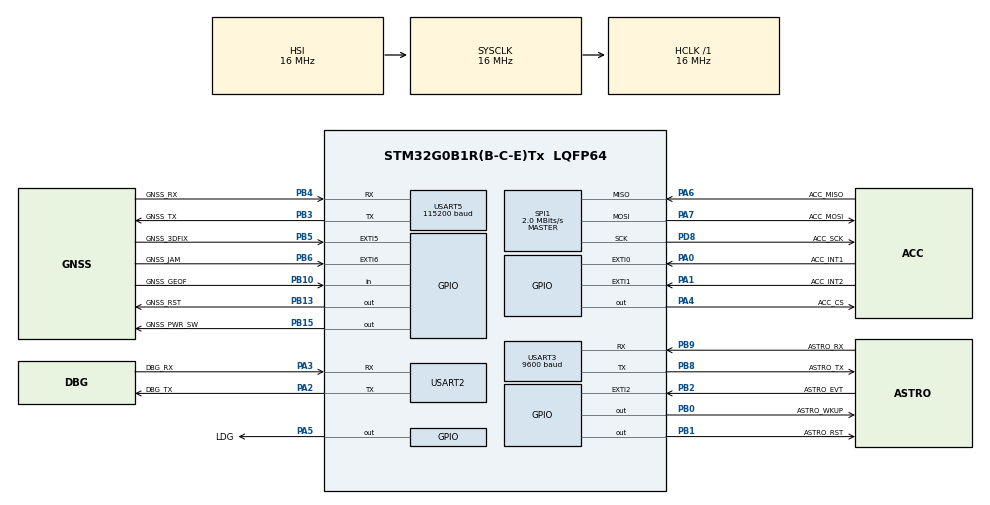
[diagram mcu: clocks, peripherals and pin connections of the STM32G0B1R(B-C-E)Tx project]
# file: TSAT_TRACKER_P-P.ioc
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Mcu.Family=STM32G0
Mcu.Name=STM32G0B1R(B-C-E)Tx
Mcu.Package=LQFP64
NVIC.EXTI0_1_IRQn=true\:3\:0\:true\:false\:true\:true\:true\:true
NVIC.TIM6_DAC_LPTIM1_IRQn=true\:1\:0\:true\:false\:true\:true\:true\:true
PA0.GPIO_Label=ACC_INT1
PA0.Signal=GPXTI0
PA1.GPIO_Label=ACC_INT2
PA1.Signal=GPXTI1
PA13.GPIO_Label=TMS
PA13.Mode=Serial_Wire
PA13.Signal=SYS_SWDIO
PA14-BOOT0.GPIO_Label=TCK
PA14-BOOT0.Mode=Serial_Wire
PA14-BOOT0.Signal=SYS_SWCLK
PA2.GPIO_Label=DBG_TX
PA2.Mode=Asynchronous
PA2.Signal=USART2_TX
PA3.GPIO_Label=DBG_RX
PA3.Mode=Asynchronous
PA3.Signal=USART2_RX
PA4.GPIO_Label=ACC_CS
PA4.PinState=GPIO_PIN_RESET
PA4.Signal=GPIO_Output
PA5.GPIO_Label=LDG
PA5.GPIO_Speed=GPIO_SPEED_FREQ_LOW
PA5.Signal=GPIO_Output
PA6.GPIO_Label=ACC_MISO
PA6.GPIO_Speed=GPIO_SPEED_FREQ_LOW
PA6.Mode=Full_Duplex_Master
PA6.Signal=SPI1_MISO
PA7.GPIO_Label=ACC_MOSI
PA7.GPIO_Speed=GPIO_SPEED_FREQ_LOW
PA7.Mode=Full_Duplex_Master
PA7.Signal=SPI1_MOSI
PB0.GPIO_Label=ASTRO_WKUP
PB0.Signal=GPIO_Output
PB1.GPIO_Label=ASTRO_RST
PB1.Signal=GPIO_Output
PB10.GPIO_Label=GNSS_GEOF
PB10.Signal=GPIO_Input
PB13.GPIO_Label=GNSS_RST
PB13.Signal=GPIO_Output
PB15.GPIO_Label=GNSS_PWR_SW
PB15.Signal=GPIO_Output
PB2.GPIO_Label=ASTRO_EVT
PB2.Signal=GPXTI2
PB3.GPIO_Label=GNSS_TX
PB3.Mode=Asynchronous
PB3.Signal=USART5_TX
PB4.GPIO_Label=GNSS_RX
PB4.GPIO_ModeDefaultPP=GPIO_MODE_AF_PP
PB4.GPIO_PuPd=GPIO_NOPULL
PB4.Mode=Asynchronous
PB4.Signal=USART5_RX
PB5.GPIO_Label=GNSS_3DFIX
PB5.Signal=GPXTI5
PB6.GPIO_Label=GNSS_JAM
PB6.Signal=GPXTI6
PB8.GPIO_Label=ASTRO_TX
PB8.Mode=Asynchronous
PB8.Signal=USART3_TX
PB9.GPIO_Label=ASTRO_RX
PB9.Mode=Asynchronous
PB9.Signal=USART3_RX
PC13.Mode=SYS_WakeUp1
PC13.Signal=SYS_WKUP2
PC14-OSC32_IN\ (PC14).Mode=LSE-External-Oscillator
PC14-OSC32_IN\ (PC14).Signal=RCC_OSC32_IN
PC15-OSC32_OUT\ (PC15).Mode=LSE-External-Oscillator
PC15-OSC32_OUT\ (PC15).Signal=RCC_OSC32_OUT
PD8.GPIO_Label=ACC_SCK
PD8.GPIO_Speed=GPIO_SPEED_FREQ_LOW
PD8.Mode=Full_Duplex_Master
PD8.Signal=SPI1_SCK
PF0-OSC_IN\ (PF0).GPIO_Label=MCO
PF0-OSC_IN\ (PF0).Mode=HSE-External-Clock-Source
PF0-OSC_IN\ (PF0).Signal=RCC_OSC_IN
ProjectManager.HeapSize=0x200
ProjectManager.StackSize=0x400
ProjectManager.TargetToolchain=STM32CubeIDE
RCC.AHBFreq_Value=16000000
RCC.CortexFreq_Value=16000000
RCC.EXTERNAL_CLOCK_VALUE=12288000
RCC.HCLKFreq_Value=16000000
RCC.HSE_VALUE=8000000
RCC.HSI48_VALUE=48000000
RCC.HSI_VALUE=16000000
RCC.RTCClockSelection=RCC_RTCCLKSOURCE_LSE
RCC.SYSCLKFreq_VALUE=16000000
RCC.USBFreq_Value=48000000
RCC.VCOOutputFreq_Value=128000000
RTC.WeekDay=RTC_WEEKDAY_SATURDAY
SPI1.BaudRatePrescaler=SPI_BAUDRATEPRESCALER_8
SPI1.CalculateBaudRate=2.0 MBits/s
SPI1.Direction=SPI_DIRECTION_2LINES
SPI1.Mode=SPI_MODE_MASTER
SPI1.NSSPMode=SPI_NSS_PULSE_ENABLE
SPI1.VirtualType=VM_MASTER
TIM6.Period=1000-1
TIM6.Prescaler=16000-1
USART2.VirtualMode-Asynchronous=VM_ASYNC
USART3.BaudRate=9600
USART3.VirtualMode-Asynchronous=VM_ASYNC
USART5.BaudRate=115200
USART5.VirtualMode-Asynchronous=VM_ASYNC
VP_RTC_VS_RTC_Activate.Mode=RTC_Enabled
VP_RTC_VS_RTC_Calendar.Mode=RTC_Calendar
VP_TIM6_VS_ClockSourceINT.Mode=Enable_Timer
board=NUCLEO-G0B1RE

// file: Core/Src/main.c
/* USER CODE BEGIN Header */
/**
  ******************************************************************************
  * @file           : main.c
  * @brief          : Main program body
  ******************************************************************************
  * @attention
  *
  * Copyright (c) 2023 STMicroelectronics.
  * All rights reserved.
  *
  * This software is licensed under terms that can be found in the LICENSE file
  * in the root directory of this software component.
  * If no LICENSE file comes with this software, it is provided AS-IS.
  *
  ******************************************************************************
  */
/* USER CODE END Header */
#include "main.h"

RTC_HandleTypeDef hrtc;

SPI_HandleTypeDef hspi1;

TIM_HandleTypeDef htim6;

UART_HandleTypeDef huart2;
UART_HandleTypeDef huart3;
UART_HandleTypeDef huart5;

/* USER CODE BEGIN PV */
char*		hello = "\nHello NEMO2SPACE TRACKER P assembly test firmware v0.0.1 started.\n" ;

// UART
uint8_t c = 0 ;
bool test = false ;
char uart_buff[250] = {0} ;

// ACC
stmdev_ctx_t my_acc_ctx ;

//TIM
uint16_t tim_seconds = 0 ;

/* USER CODE END PV */

void SystemClock_Config(void);
static void MX_GPIO_Init(void);
static void MX_USART2_UART_Init(void);
static void MX_USART3_UART_Init(void);
static void MX_USART5_UART_Init(void);
static void MX_SPI1_Init(void);
static void MX_TIM6_Init(void);
static void MX_RTC_Init(void);
/* USER CODE BEGIN PFP */
void send_debug_logs ( char* ) ;
int32_t my_lis2dw12_platform_write ( void* , uint8_t , const uint8_t* , uint16_t ) ;
int32_t my_lis2dw12_platform_read ( void* , uint8_t , uint8_t* , uint16_t ) ;
void my_gnss_on ( void ) ;
void my_gnss_off ( void ) ;
void my_tim_init (void ) ;
void my_tim_start (void ) ;
void my_tim_stop (void ) ;

/* USER CODE END PFP */

int main(void)
{

  /* MCU Configuration--------------------------------------------------------*/

  /* Reset of all peripherals, Initializes the Flash interface and the Systick. */
  HAL_Init();

  /* Configure the system clock */
  SystemClock_Config();

  /* Initialize all configured peripherals */
  MX_GPIO_Init();
  MX_USART2_UART_Init();
  MX_USART3_UART_Init();
  MX_USART5_UART_Init();
  MX_SPI1_Init();
  MX_TIM6_Init();
  MX_RTC_Init();
  /* USER CODE BEGIN 2 */
  HAL_UART_Transmit ( HUART_DBG , (uint8_t*) hello , strlen ( hello ) , UART_TIMEOUT ) ;
  my_tim_init () ;
  send_debug_logs ( "The device test started. You have max. 10 minutes to complete each steps.\n" ) ;

  // ACC TEST
  my_tim_start () ;
  while ( tim_seconds < 30 )
  {
	  send_debug_logs ( "* LIS2DW12 test started. Try to complete it within 30 seconds." ) ;
	  my_acc_ctx.write_reg = my_lis2dw12_platform_write ;
	  my_acc_ctx.read_reg = my_lis2dw12_platform_read ;
	  my_acc_ctx.handle = HACC ;
	  if ( my_lis2dw12_init ( &my_acc_ctx ) )
	  {
		  send_debug_logs ( "** LIS2DW12 has been initialized." ) ;
	  }
	  else
	  {
		  send_debug_logs ( "** LIS2DW12 has not been initialized." ) ;
	  }
	  my_lis2dw12_int1_wu_enable ( &my_acc_ctx ) ;
	  send_debug_logs ( "** LIS2DW12 wakeup int1 has been enabled. Try to wake up the device." ) ;
	  while ( !test && tim_seconds < 30 )
	  {
		  if ( HAL_GPIO_ReadPin ( ACC_INT1_GPIO_Port , ACC_INT1_Pin ) == GPIO_PIN_SET )
		  {
			  test = true ;
			  send_debug_logs ( "* Good! LIS2DW12 test has been accomplished." ) ;
			  break ;
		  }
	  }
	  if ( test )
		  break ;
	  else
		  send_debug_logs ( "* Something went wrong! MCU did not received INT1." ) ;
  }
  my_tim_stop () ;
  tim_seconds = 0 ;

  // GNSS TEST

  uint8_t 	rxd_byte = 0 ;
  uint8_t 	i_nmea = 0 ;
  uint8_t 	gsv_tns = 0 ;
  uint8_t 	nmea_message[MY_NMEA_MESSAGE_MAX_SIZE] = {0} ;
  char*		nmea_gsv_label = "GSV" ;
  my_tim_start () ;
  my_gnss_on () ;
  send_debug_logs ( "* LC76G test started. Try to complete it within 10 minutes." ) ;
  while ( tim_seconds < TIM_SECONDS_THS_SYSTEM_RESET  )
  {
	  HAL_UART_Receive ( HUART_GNSS , &rxd_byte , 1 , UART_TIMEOUT ) ;
	  HAL_UART_Transmit ( HUART_DBG , &rxd_byte , 1 , UART_TIMEOUT ) ;
	  if ( rxd_byte )
	  {
		  if ( my_nmea_message ( &rxd_byte , nmea_message , &i_nmea ) == 2 )
		  {
			  if ( is_my_nmea_checksum_ok ( (char*) nmea_message ) )
			  {
				  if ( strstr ( (char*) nmea_message , nmea_gsv_label ) )
				  {
					  gsv_tns = my_nmea_get_gsv_tns ( (char*) nmea_message ) ;
				  }
				  if ( gsv_tns > 3 )
					  break ;
			  }
		  }
	  }
  }
  my_gnss_off () ;
  my_tim_stop () ;
  if ( gsv_tns )
  {
	  sprintf ( uart_buff , "* Good! LC76G test has been accomplished. No of SV: %d" , gsv_tns ) ;
	  send_debug_logs ( uart_buff ) ;
	  uart_buff[0] = 0 ;
  }
  else
  {
	  send_debug_logs ( "\n* Something went wrong! LC76G did not find any SV." ) ;
  }

  // ASTRO TEST
  bool cfg_wr = false ;
  tim_seconds = 0 ;
  my_tim_start() ;
  while ( tim_seconds < 30 && !cfg_wr )
  {
	  reset_astronode () ;
	  HAL_Delay ( 100 ) ;
	  cfg_wr = astronode_send_cfg_wr ( true , true , true , false , true , true , true , false  ) ;
  }
  my_tim_stop() ;
  if ( cfg_wr )
  {
	  astronode_send_mpn_rr () ;
	  send_debug_logs ( "* Good! Astronode test has been accomplished." ) ;
  }
  else
  {
	  send_debug_logs ( "\n* Something went wrong! Astronode did not work fine." ) ;
  }
  send_debug_logs ( "\nThis is the end of the test." ) ;

  /* USER CODE END 2 */

  /* Infinite loop */
  /* USER CODE BEGIN WHILE */
  while (1)
  {
	  HAL_UART_Receive	( HUART_GNSS, &c , 1 , UART_TIMEOUT ) ;
	  HAL_UART_Transmit ( HUART_DBG, &c , 1 , UART_TIMEOUT ) ;
    /* USER CODE END WHILE */

  }
}

void SystemClock_Config(void)
{
  RCC_OscInitTypeDef RCC_OscInitStruct = {0};
  RCC_ClkInitTypeDef RCC_ClkInitStruct = {0};

  /** Configure the main internal regulator output voltage
  */
  HAL_PWREx_ControlVoltageScaling(PWR_REGULATOR_VOLTAGE_SCALE1);

  /** Configure LSE Drive Capability
  */
  HAL_PWR_EnableBkUpAccess();
  __HAL_RCC_LSEDRIVE_CONFIG(RCC_LSEDRIVE_LOW);

  /** Initializes the RCC Oscillators according to the specified parameters
  * in the RCC_OscInitTypeDef structure.
  */
  RCC_OscInitStruct.OscillatorType = RCC_OSCILLATORTYPE_HSI|RCC_OSCILLATORTYPE_LSE;
  RCC_OscInitStruct.LSEState = RCC_LSE_ON;
  RCC_OscInitStruct.HSIState = RCC_HSI_ON;
  RCC_OscInitStruct.HSIDiv = RCC_HSI_DIV1;
  RCC_OscInitStruct.HSICalibrationValue = RCC_HSICALIBRATION_DEFAULT;
  RCC_OscInitStruct.PLL.PLLState = RCC_PLL_NONE;
  if (HAL_RCC_OscConfig(&RCC_OscInitStruct) != HAL_OK)
  {
    Error_Handler();
  }

  /** Initializes the CPU, AHB and APB buses clocks
  */
  RCC_ClkInitStruct.ClockType = RCC_CLOCKTYPE_HCLK|RCC_CLOCKTYPE_SYSCLK
                              |RCC_CLOCKTYPE_PCLK1;
  RCC_ClkInitStruct.SYSCLKSource = RCC_SYSCLKSOURCE_HSI;
  RCC_ClkInitStruct.AHBCLKDivider = RCC_SYSCLK_DIV1;
  RCC_ClkInitStruct.APB1CLKDivider = RCC_HCLK_DIV1;

  if (HAL_RCC_ClockConfig(&RCC_ClkInitStruct, FLASH_LATENCY_0) != HAL_OK)
  {
    Error_Handler();
  }
}

static void MX_RTC_Init(void)
{

  RTC_TimeTypeDef sTime = {0};
  RTC_DateTypeDef sDate = {0};

  /** Initialize RTC Only
  */
  hrtc.Instance = RTC;
  hrtc.Init.HourFormat = RTC_HOURFORMAT_24;
  hrtc.Init.AsynchPrediv = 127;
  hrtc.Init.SynchPrediv = 255;
  hrtc.Init.OutPut = RTC_OUTPUT_DISABLE;
  hrtc.Init.OutPutRemap = RTC_OUTPUT_REMAP_NONE;
  hrtc.Init.OutPutPolarity = RTC_OUTPUT_POLARITY_HIGH;
  hrtc.Init.OutPutType = RTC_OUTPUT_TYPE_OPENDRAIN;
  hrtc.Init.OutPutPullUp = RTC_OUTPUT_PULLUP_NONE;
  if (HAL_RTC_Init(&hrtc) != HAL_OK)
  {
    Error_Handler();
  }

  /** Initialize RTC and set the Time and Date
  */
  sTime.Hours = 0x0;
  sTime.Minutes = 0x0;
  sTime.Seconds = 0x0;
  sTime.SubSeconds = 0x0;
  sTime.DayLightSaving = RTC_DAYLIGHTSAVING_NONE;
  sTime.StoreOperation = RTC_STOREOPERATION_RESET;
  if (HAL_RTC_SetTime(&hrtc, &sTime, RTC_FORMAT_BCD) != HAL_OK)
  {
    Error_Handler();
  }
  sDate.WeekDay = RTC_WEEKDAY_SATURDAY;
  sDate.Month = RTC_MONTH_JANUARY;
  sDate.Date = 0x1;
  sDate.Year = 0x0;

  if (HAL_RTC_SetDate(&hrtc, &sDate, RTC_FORMAT_BCD) != HAL_OK)
  {
    Error_Handler();
  }

}

static void MX_SPI1_Init(void)
{

  /* SPI1 parameter configuration*/
  hspi1.Instance = SPI1;
  hspi1.Init.Mode = SPI_MODE_MASTER;
  hspi1.Init.Direction = SPI_DIRECTION_2LINES;
  hspi1.Init.DataSize = SPI_DATASIZE_8BIT;
  hspi1.Init.CLKPolarity = SPI_POLARITY_LOW;
  hspi1.Init.CLKPhase = SPI_PHASE_1EDGE;
  hspi1.Init.NSS = SPI_NSS_SOFT;
  hspi1.Init.BaudRatePrescaler = SPI_BAUDRATEPRESCALER_8;
  hspi1.Init.FirstBit = SPI_FIRSTBIT_MSB;
  hspi1.Init.TIMode = SPI_TIMODE_DISABLE;
  hspi1.Init.CRCCalculation = SPI_CRCCALCULATION_DISABLE;
  hspi1.Init.CRCPolynomial = 7;
  hspi1.Init.CRCLength = SPI_CRC_LENGTH_DATASIZE;
  hspi1.Init.NSSPMode = SPI_NSS_PULSE_ENABLE;
  if (HAL_SPI_Init(&hspi1) != HAL_OK)
  {
    Error_Handler();
  }

}

static void MX_TIM6_Init(void)
{

  TIM_MasterConfigTypeDef sMasterConfig = {0};

  htim6.Instance = TIM6;
  htim6.Init.Prescaler = 16000-1;
  htim6.Init.CounterMode = TIM_COUNTERMODE_UP;
  htim6.Init.Period = 1000-1;
  htim6.Init.AutoReloadPreload = TIM_AUTORELOAD_PRELOAD_DISABLE;
  if (HAL_TIM_Base_Init(&htim6) != HAL_OK)
  {
    Error_Handler();
  }
  sMasterConfig.MasterOutputTrigger = TIM_TRGO_RESET;
  sMasterConfig.MasterSlaveMode = TIM_MASTERSLAVEMODE_DISABLE;
  if (HAL_TIMEx_MasterConfigSynchronization(&htim6, &sMasterConfig) != HAL_OK)
  {
    Error_Handler();
  }

}

static void MX_USART2_UART_Init(void)
{

  huart2.Instance = USART2;
  huart2.Init.BaudRate = 115200;
  huart2.Init.WordLength = UART_WORDLENGTH_8B;
  huart2.Init.StopBits = UART_STOPBITS_1;
  huart2.Init.Parity = UART_PARITY_NONE;
  huart2.Init.Mode = UART_MODE_TX_RX;
  huart2.Init.HwFlowCtl = UART_HWCONTROL_NONE;
  huart2.Init.OverSampling = UART_OVERSAMPLING_16;
  huart2.Init.OneBitSampling = UART_ONE_BIT_SAMPLE_DISABLE;
  huart2.Init.ClockPrescaler = UART_PRESCALER_DIV1;
  huart2.AdvancedInit.AdvFeatureInit = UART_ADVFEATURE_NO_INIT;
  if (HAL_UART_Init(&huart2) != HAL_OK)
  {
    Error_Handler();
  }
  if (HAL_UARTEx_SetTxFifoThreshold(&huart2, UART_TXFIFO_THRESHOLD_1_8) != HAL_OK)
  {
    Error_Handler();
  }
  if (HAL_UARTEx_SetRxFifoThreshold(&huart2, UART_RXFIFO_THRESHOLD_1_8) != HAL_OK)
  {
    Error_Handler();
  }
  if (HAL_UARTEx_DisableFifoMode(&huart2) != HAL_OK)
  {
    Error_Handler();
  }

}

static void MX_USART3_UART_Init(void)
{

  huart3.Instance = USART3;
  huart3.Init.BaudRate = 9600;
  huart3.Init.WordLength = UART_WORDLENGTH_8B;
  huart3.Init.StopBits = UART_STOPBITS_1;
  huart3.Init.Parity = UART_PARITY_NONE;
  huart3.Init.Mode = UART_MODE_TX_RX;
  huart3.Init.HwFlowCtl = UART_HWCONTROL_NONE;
  huart3.Init.OverSampling = UART_OVERSAMPLING_16;
  huart3.Init.OneBitSampling = UART_ONE_BIT_SAMPLE_DISABLE;
  huart3.Init.ClockPrescaler = UART_PRESCALER_DIV1;
  huart3.AdvancedInit.AdvFeatureInit = UART_ADVFEATURE_NO_INIT;
  if (HAL_UART_Init(&huart3) != HAL_OK)
  {
    Error_Handler();
  }
  if (HAL_UARTEx_SetTxFifoThreshold(&huart3, UART_TXFIFO_THRESHOLD_1_8) != HAL_OK)
  {
    Error_Handler();
  }
  if (HAL_UARTEx_SetRxFifoThreshold(&huart3, UART_RXFIFO_THRESHOLD_1_8) != HAL_OK)
  {
    Error_Handler();
  }
  if (HAL_UARTEx_DisableFifoMode(&huart3) != HAL_OK)
  {
    Error_Handler();
  }

}

static void MX_USART5_UART_Init(void)
{

  huart5.Instance = USART5;
  huart5.Init.BaudRate = 115200;
  huart5.Init.WordLength = UART_WORDLENGTH_8B;
  huart5.Init.StopBits = UART_STOPBITS_1;
  huart5.Init.Parity = UART_PARITY_NONE;
  huart5.Init.Mode = UART_MODE_TX_RX;
  huart5.Init.HwFlowCtl = UART_HWCONTROL_NONE;
  huart5.Init.OverSampling = UART_OVERSAMPLING_16;
  huart5.Init.OneBitSampling = UART_ONE_BIT_SAMPLE_DISABLE;
  huart5.Init.ClockPrescaler = UART_PRESCALER_DIV1;
  huart5.AdvancedInit.AdvFeatureInit = UART_ADVFEATURE_NO_INIT;
  if (HAL_UART_Init(&huart5) != HAL_OK)
  {
    Error_Handler();
  }

}

static void MX_GPIO_Init(void)
{
  GPIO_InitTypeDef GPIO_InitStruct = {0};

  /* GPIO Ports Clock Enable */
  __HAL_RCC_GPIOC_CLK_ENABLE();
  __HAL_RCC_GPIOF_CLK_ENABLE();
  __HAL_RCC_GPIOA_CLK_ENABLE();
  __HAL_RCC_GPIOB_CLK_ENABLE();
  __HAL_RCC_GPIOD_CLK_ENABLE();

  /*Configure GPIO pin Output Level */
  HAL_GPIO_WritePin(GPIOA, ACC_CS_Pin|LDG_Pin, GPIO_PIN_RESET);

  /*Configure GPIO pin Output Level */
  HAL_GPIO_WritePin(GPIOB, ASTRO_WKUP_Pin|ASTRO_RST_Pin|GNSS_RST_Pin|GNSS_PWR_SW_Pin, GPIO_PIN_RESET);

  /*Configure GPIO pins : ACC_INT1_Pin ACC_INT2_Pin */
  GPIO_InitStruct.Pin = ACC_INT1_Pin|ACC_INT2_Pin;
  GPIO_InitStruct.Mode = GPIO_MODE_IT_RISING;
  GPIO_InitStruct.Pull = GPIO_NOPULL;
  HAL_GPIO_Init(GPIOA, &GPIO_InitStruct);

  /*Configure GPIO pins : ACC_CS_Pin LDG_Pin */
  GPIO_InitStruct.Pin = ACC_CS_Pin|LDG_Pin;
  GPIO_InitStruct.Mode = GPIO_MODE_OUTPUT_PP;
  GPIO_InitStruct.Pull = GPIO_NOPULL;
  GPIO_InitStruct.Speed = GPIO_SPEED_FREQ_LOW;
  HAL_GPIO_Init(GPIOA, &GPIO_InitStruct);

  /*Configure GPIO pins : ASTRO_WKUP_Pin ASTRO_RST_Pin GNSS_RST_Pin GNSS_PWR_SW_Pin */
  GPIO_InitStruct.Pin = ASTRO_WKUP_Pin|ASTRO_RST_Pin|GNSS_RST_Pin|GNSS_PWR_SW_Pin;
  GPIO_InitStruct.Mode = GPIO_MODE_OUTPUT_PP;
  GPIO_InitStruct.Pull = GPIO_NOPULL;
  GPIO_InitStruct.Speed = GPIO_SPEED_FREQ_LOW;
  HAL_GPIO_Init(GPIOB, &GPIO_InitStruct);

  /*Configure GPIO pins : ASTRO_EVT_Pin GNSS_3DFIX_Pin GNSS_JAM_Pin */
  GPIO_InitStruct.Pin = ASTRO_EVT_Pin|GNSS_3DFIX_Pin|GNSS_JAM_Pin;
  GPIO_InitStruct.Mode = GPIO_MODE_IT_RISING;
  GPIO_InitStruct.Pull = GPIO_NOPULL;
  HAL_GPIO_Init(GPIOB, &GPIO_InitStruct);

  /*Configure GPIO pin : GNSS_GEOF_Pin */
  GPIO_InitStruct.Pin = GNSS_GEOF_Pin;
  GPIO_InitStruct.Mode = GPIO_MODE_INPUT;
  GPIO_InitStruct.Pull = GPIO_NOPULL;
  HAL_GPIO_Init(GNSS_GEOF_GPIO_Port, &GPIO_InitStruct);

  /* EXTI interrupt init*/
  HAL_NVIC_SetPriority(EXTI0_1_IRQn, 3, 0);
  HAL_NVIC_EnableIRQ(EXTI0_1_IRQn);

}

/* USER CODE BEGIN 4 */

// FUNCTIONS REQUIRED BY astronode-stm32-example-asset library
void send_debug_logs ( char* p_tx_buffer )
{
    uint32_t length = strlen ( p_tx_buffer ) ;

    if ( length > UART_TX_MAX_BUFF_SIZE )
    {
        HAL_UART_Transmit ( HUART_DBG , ( uint8_t* ) "[ERROR] UART buffer reached max length.\n" , 42 , UART_TIMEOUT ) ;
        length = UART_TX_MAX_BUFF_SIZE;
    }

    HAL_UART_Transmit ( HUART_DBG , ( uint8_t* ) p_tx_buffer , length , UART_TIMEOUT ) ;
    HAL_UART_Transmit ( HUART_DBG , ( uint8_t* ) "\n" , 1 , UART_TIMEOUT ) ;
}

// ACC LL Function

int32_t my_lis2dw12_platform_write ( void *handle , uint8_t reg , const uint8_t *bufp , uint16_t len )
{
	HAL_GPIO_WritePin	( GPIOA , ACC_CS_Pin , GPIO_PIN_RESET ) ;
	HAL_Delay ( 20 ) ;
	HAL_SPI_Transmit	( handle , &reg , 1 , 1000 ) ;
	HAL_SPI_Transmit	( handle , (uint8_t*) bufp , len , 1000 ) ;
	HAL_GPIO_WritePin	( GPIOA , ACC_CS_Pin , GPIO_PIN_SET) ;

	return 0;
}

int32_t my_lis2dw12_platform_read ( void *handle , uint8_t reg , uint8_t *bufp , uint16_t len )
{
	reg |= 0x80;
	HAL_GPIO_WritePin ( GPIOA , ACC_CS_Pin , GPIO_PIN_RESET) ;
	HAL_Delay ( 20 ) ;
	HAL_SPI_Transmit ( handle , &reg , 1 , 1000 ) ;
	HAL_SPI_Receive ( handle , bufp , len , 1000 ) ;
	HAL_GPIO_WritePin ( GPIOA , ACC_CS_Pin , GPIO_PIN_SET) ;

	return 0;
}

// GNSS LL Function
void my_gnss_on ( void )
{
	HAL_GPIO_WritePin ( GPIOB , GNSS_PWR_SW_Pin , GPIO_PIN_SET ) ;
	HAL_GPIO_WritePin ( GPIOB , GNSS_RST_Pin , GPIO_PIN_SET ) ;
	MX_USART3_UART_Init () ;
}
void my_gnss_off ( void )
{
	HAL_GPIO_WritePin ( GPIOB , GNSS_PWR_SW_Pin , GPIO_PIN_RESET ) ;
	HAL_GPIO_WritePin ( GPIOB , GNSS_RST_Pin , GPIO_PIN_RESET ) ;
	HAL_UART_DeInit ( HUART_GNSS ) ;
}

void HAL_TIM_PeriodElapsedCallback ( TIM_HandleTypeDef *htim )
{
	if ( htim->Instance == TIM6 )
	{
		tim_seconds++ ;
		if ( tim_seconds > TIM_SECONDS_THS_SYSTEM_RESET )
		{
			send_debug_logs ( "Watchdog activated! System restart!" ) ;
			HAL_NVIC_SystemReset () ;
		}
	}
}

void my_tim_init (void )
{
	__HAL_TIM_CLEAR_IT ( HTIM , TIM_IT_UPDATE ) ;
}

void my_tim_start (void )
{
	tim_seconds = 0 ;
	HAL_TIM_Base_Start_IT ( HTIM ) ;
}

void my_tim_stop (void )
{
	HAL_TIM_Base_Stop_IT ( HTIM ) ;
}
void reset_astronode ( void )
{
    HAL_GPIO_WritePin ( ASTRO_RST_GPIO_Port , ASTRO_RST_Pin , GPIO_PIN_SET ) ;
    HAL_Delay ( 1 ) ;
    HAL_GPIO_WritePin ( ASTRO_RST_GPIO_Port , ASTRO_RST_Pin , GPIO_PIN_RESET ) ;
    HAL_Delay ( 250 ) ;
}
void send_astronode_request ( uint8_t* p_tx_buffer , uint32_t length )
{
    send_debug_logs ( "Message sent to the Astronode --> " ) ;
    send_debug_logs ( ( char* ) p_tx_buffer ) ;
    HAL_UART_Transmit ( HUART_ASTRO , p_tx_buffer , length , 1000 ) ;
}
uint32_t get_systick ( void )
{
    return HAL_GetTick() ;
}
bool is_systick_timeout_over ( uint32_t starting_value , uint16_t duration )
{
    return ( get_systick () - starting_value > duration ) ? true : false ;
}
bool is_astronode_character_received ( uint8_t* p_rx_char )
{
    return ( HAL_UART_Receive ( HUART_ASTRO , p_rx_char , 1 , 100 ) == HAL_OK ? true : false ) ;
}
/* USER CODE END 4 */

void Error_Handler(void)
{
  __disable_irq();
  while (1)
  {
  }
}
